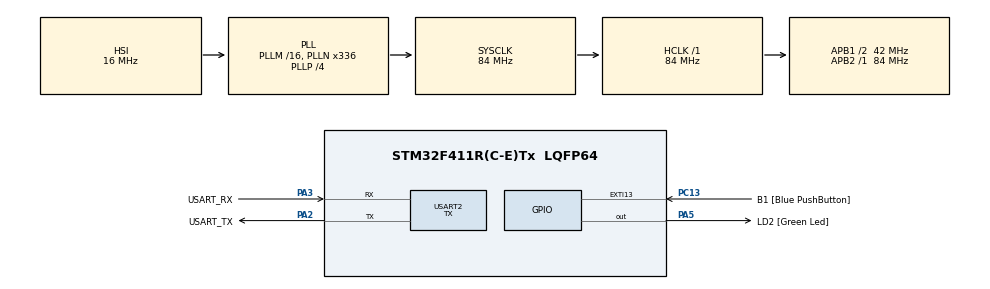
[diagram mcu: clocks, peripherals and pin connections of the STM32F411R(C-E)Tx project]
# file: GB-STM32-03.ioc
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Mcu.Family=STM32F4
Mcu.Name=STM32F411R(C-E)Tx
Mcu.Package=LQFP64
NVIC.PriorityGroup=NVIC_PRIORITYGROUP_0
NVIC.TIM2_IRQn=true\:0\:0\:false\:false\:true\:true\:true
NVIC.USART2_IRQn=true\:0\:0\:false\:false\:true\:true\:true
PA13.GPIO_Label=TMS
PA13.Mode=Serial_Wire
PA13.Signal=SYS_JTMS-SWDIO
PA14.GPIO_Label=TCK
PA14.Mode=Serial_Wire
PA14.Signal=SYS_JTCK-SWCLK
PA2.GPIO_Label=USART_TX
PA2.Mode=Asynchronous
PA2.Signal=USART2_TX
PA3.GPIO_Label=USART_RX
PA3.Mode=Asynchronous
PA3.Signal=USART2_RX
PA5.GPIO_Label=LD2 [Green Led]
PA5.Signal=GPIO_Output
PB3.GPIO_Label=SWO
PB3.Signal=SYS_JTDO-SWO
PC13-ANTI_TAMP.GPIO_Label=B1 [Blue PushButton]
PC13-ANTI_TAMP.GPIO_ModeDefaultEXTI=GPIO_MODE_IT_FALLING
PC13-ANTI_TAMP.GPIO_PuPd=GPIO_PULLUP
PC13-ANTI_TAMP.Signal=GPXTI13
PC14-OSC32_IN.Mode=LSE-External-Oscillator
PC14-OSC32_IN.Signal=RCC_OSC32_IN
PC15-OSC32_OUT.Mode=LSE-External-Oscillator
PC15-OSC32_OUT.Signal=RCC_OSC32_OUT
PH0\ -\ OSC_IN.Mode=HSE-External-Clock-Source
PH0\ -\ OSC_IN.Signal=RCC_OSC_IN
PH1\ -\ OSC_OUT.Mode=HSE-External-Clock-Source
PH1\ -\ OSC_OUT.Signal=RCC_OSC_OUT
ProjectManager.HeapSize=0x200
ProjectManager.StackSize=0x400
ProjectManager.TargetToolchain=STM32CubeIDE
RCC.48MHZClocksFreq_Value=84000000
RCC.AHBFreq_Value=84000000
RCC.APB1CLKDivider=RCC_HCLK_DIV2
RCC.APB1Freq_Value=42000000
RCC.APB1TimFreq_Value=84000000
RCC.APB2Freq_Value=84000000
RCC.APB2TimFreq_Value=84000000
RCC.CortexFreq_Value=84000000
RCC.FLatency-AdvancedSettings=FLASH_LATENCY_2
RCC.HCLKFreq_Value=84000000
RCC.HSE_VALUE=8000000
RCC.HSI_VALUE=16000000
RCC.PLLN=336
RCC.PLLP=RCC_PLLP_DIV4
RCC.SYSCLKFreq_VALUE=84000000
RCC.SYSCLKSource=RCC_SYSCLKSOURCE_PLLCLK
RCC.VCOOutputFreq_Value=336000000
TIM2.Period=10000-1
TIM2.Prescaler=84-1
USART2.Mode=MODE_TX
USART2.VirtualMode=VM_ASYNC
VP_TIM2_VS_ClockSourceINT.Mode=Internal
board=NUCLEO-F411RE

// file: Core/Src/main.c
/* USER CODE BEGIN Header */
/**
 ******************************************************************************
 * @file           : main.c
 * @brief          : Main program body
 ******************************************************************************
 * @attention
 *
 * <h2><center>&copy; Copyright (c) 2021 STMicroelectronics.
 * All rights reserved.</center></h2>
 *
 * This software component is licensed by ST under BSD 3-Clause license,
 * the "License"; You may not use this file except in compliance with the
 * License. You may obtain a copy of the License at:
 *                        opensource.org/licenses/BSD-3-Clause
 *
 ******************************************************************************
 */
/* USER CODE END Header */
#include "main.h"

/* USER CODE BEGIN Includes */
#include "stdio.h"
#include "string.h"
/* USER CODE END Includes */

/* USER CODE BEGIN PD */
#define FLASH_USER_SECTOR     FLASH_SECTOR_4
#define FLASH_USER_START_ADDR 0x08010000
#define FLASH_USER_END_ADDR   0x0801FFFF
/* USER CODE END PD */

TIM_HandleTypeDef htim2;

UART_HandleTypeDef huart2;

/* USER CODE BEGIN PV */
volatile uint32_t counter = 0;
uint32_t currentCounter = 0;
/* USER CODE END PV */

void SystemClock_Config(void);
static void MX_GPIO_Init(void);
static void MX_USART2_UART_Init(void);
static void MX_TIM2_Init(void);

/* USER CODE BEGIN 0 */
void HAL_TIM_PeriodElapsedCallback(TIM_HandleTypeDef *htim) {
	if (htim->Instance == TIM2) {
		counter++;
	}
}
/* USER CODE END 0 */

int main(void)
{
  /* USER CODE BEGIN 1 */
	uint8_t flag_key_press = 1;
	uint32_t time_key_press = 0;
	char buf[32] = { 0 };
	__IO uint32_t data = 0;

	static FLASH_EraseInitTypeDef pEraseInit;
	pEraseInit.TypeErase = FLASH_TYPEERASE_SECTORS;
	pEraseInit.Sector = FLASH_USER_SECTOR;
	pEraseInit.NbSectors = 1;
	pEraseInit.VoltageRange = VOLTAGE_RANGE_3;
	uint32_t SectorError = 0;
  /* USER CODE END 1 */

  /* MCU Configuration--------------------------------------------------------*/

  /* Reset of all peripherals, Initializes the Flash interface and the Systick. */
  HAL_Init();

  /* Configure the system clock */
  SystemClock_Config();

  /* Initialize all configured peripherals */
  MX_GPIO_Init();
  MX_USART2_UART_Init();
  MX_TIM2_Init();
  /* USER CODE BEGIN 2 */
	HAL_TIM_Base_Start_IT(&htim2);
  /* USER CODE END 2 */

  /* Infinite loop */
	while (1) {

    /* USER CODE BEGIN 3 */

		currentCounter = counter;

		if (HAL_GPIO_ReadPin(B1_GPIO_Port, B1_Pin) == GPIO_PIN_RESET && flag_key_press) {
			HAL_GPIO_WritePin(LD2_GPIO_Port, LD2_Pin, GPIO_PIN_SET);
			flag_key_press = 0;

			sprintf(buf, "Begin flash erase sector %u at 0x%0X\r\n", FLASH_USER_SECTOR, FLASH_USER_START_ADDR);
			while (HAL_UART_GetState(&huart2) != HAL_UART_STATE_READY);
			HAL_UART_Transmit(&huart2, (uint8_t*) buf, strlen(buf), 100);

			HAL_FLASH_Unlock();

			__HAL_FLASH_CLEAR_FLAG(FLASH_FLAG_EOP | FLASH_FLAG_OPERR | FLASH_FLAG_WRPERR |
					               FLASH_FLAG_PGAERR | FLASH_FLAG_PGPERR | FLASH_FLAG_PGSERR);

			if (HAL_FLASHEx_Erase(&pEraseInit, &SectorError) != HAL_OK) {
				while (HAL_UART_GetState(&huart2) != HAL_UART_STATE_READY);
				HAL_UART_Transmit(&huart2, (uint8_t*) "Flash erase failed.\r\n", 21, 100);
				Error_Handler();
			} else {
				while (HAL_UART_GetState(&huart2) != HAL_UART_STATE_READY);
				HAL_UART_Transmit(&huart2, (uint8_t*) "Flash erase OK.\r\n", 17, 100);
			}

			sprintf(buf, "Counter = %lu (hex: %X)\r\n", currentCounter, currentCounter);
			while (HAL_UART_GetState(&huart2) != HAL_UART_STATE_READY);
			HAL_UART_Transmit(&huart2, (uint8_t*) buf, strlen(buf), 100);

			if (HAL_FLASH_Program(FLASH_TYPEPROGRAM_WORD, FLASH_USER_START_ADDR, currentCounter) != HAL_OK) {
				while (HAL_UART_GetState(&huart2) != HAL_UART_STATE_READY);
				HAL_UART_Transmit(&huart2, (uint8_t*) "Flash program failed.\r\n", 23, 100);
				Error_Handler();
			} else {
				while (HAL_UART_GetState(&huart2) != HAL_UART_STATE_READY);
				HAL_UART_Transmit(&huart2, (uint8_t*) "Flash program OK.\r\n", 19, 100);
			}

			HAL_FLASH_Lock();

			time_key_press = HAL_GetTick();
			HAL_GPIO_WritePin(LD2_GPIO_Port, LD2_Pin, GPIO_PIN_RESET);

			data = *(__IO uint32_t*)FLASH_USER_START_ADDR;
			sprintf(buf, "Counter in flash = %lu (hex: %X)\r\n", data, data);
			while (HAL_UART_GetState(&huart2) != HAL_UART_STATE_READY);
			HAL_UART_Transmit(&huart2, (uint8_t*) buf, strlen(buf), 100);
		}

		if (!flag_key_press && (HAL_GetTick() - time_key_press) > 300) {
			flag_key_press = 1;
		}

		HAL_Delay(1);
	}
  /* USER CODE END 3 */
}

void SystemClock_Config(void)
{
  RCC_OscInitTypeDef RCC_OscInitStruct = {0};
  RCC_ClkInitTypeDef RCC_ClkInitStruct = {0};

  /** Configure the main internal regulator output voltage
  */
  __HAL_RCC_PWR_CLK_ENABLE();
  __HAL_PWR_VOLTAGESCALING_CONFIG(PWR_REGULATOR_VOLTAGE_SCALE1);
  /** Initializes the RCC Oscillators according to the specified parameters
  * in the RCC_OscInitTypeDef structure.
  */
  RCC_OscInitStruct.OscillatorType = RCC_OSCILLATORTYPE_HSI;
  RCC_OscInitStruct.HSIState = RCC_HSI_ON;
  RCC_OscInitStruct.HSICalibrationValue = RCC_HSICALIBRATION_DEFAULT;
  RCC_OscInitStruct.PLL.PLLState = RCC_PLL_ON;
  RCC_OscInitStruct.PLL.PLLSource = RCC_PLLSOURCE_HSI;
  RCC_OscInitStruct.PLL.PLLM = 16;
  RCC_OscInitStruct.PLL.PLLN = 336;
  RCC_OscInitStruct.PLL.PLLP = RCC_PLLP_DIV4;
  RCC_OscInitStruct.PLL.PLLQ = 4;
  if (HAL_RCC_OscConfig(&RCC_OscInitStruct) != HAL_OK)
  {
    Error_Handler();
  }
  /** Initializes the CPU, AHB and APB buses clocks
  */
  RCC_ClkInitStruct.ClockType = RCC_CLOCKTYPE_HCLK|RCC_CLOCKTYPE_SYSCLK
                              |RCC_CLOCKTYPE_PCLK1|RCC_CLOCKTYPE_PCLK2;
  RCC_ClkInitStruct.SYSCLKSource = RCC_SYSCLKSOURCE_PLLCLK;
  RCC_ClkInitStruct.AHBCLKDivider = RCC_SYSCLK_DIV1;
  RCC_ClkInitStruct.APB1CLKDivider = RCC_HCLK_DIV2;
  RCC_ClkInitStruct.APB2CLKDivider = RCC_HCLK_DIV1;

  if (HAL_RCC_ClockConfig(&RCC_ClkInitStruct, FLASH_LATENCY_2) != HAL_OK)
  {
    Error_Handler();
  }
}

static void MX_TIM2_Init(void)
{

  TIM_ClockConfigTypeDef sClockSourceConfig = {0};
  TIM_MasterConfigTypeDef sMasterConfig = {0};

  htim2.Instance = TIM2;
  htim2.Init.Prescaler = 84-1;
  htim2.Init.CounterMode = TIM_COUNTERMODE_UP;
  htim2.Init.Period = 10000-1;
  htim2.Init.ClockDivision = TIM_CLOCKDIVISION_DIV1;
  htim2.Init.AutoReloadPreload = TIM_AUTORELOAD_PRELOAD_DISABLE;
  if (HAL_TIM_Base_Init(&htim2) != HAL_OK)
  {
    Error_Handler();
  }
  sClockSourceConfig.ClockSource = TIM_CLOCKSOURCE_INTERNAL;
  if (HAL_TIM_ConfigClockSource(&htim2, &sClockSourceConfig) != HAL_OK)
  {
    Error_Handler();
  }
  sMasterConfig.MasterOutputTrigger = TIM_TRGO_RESET;
  sMasterConfig.MasterSlaveMode = TIM_MASTERSLAVEMODE_DISABLE;
  if (HAL_TIMEx_MasterConfigSynchronization(&htim2, &sMasterConfig) != HAL_OK)
  {
    Error_Handler();
  }

}

static void MX_USART2_UART_Init(void)
{

  huart2.Instance = USART2;
  huart2.Init.BaudRate = 115200;
  huart2.Init.WordLength = UART_WORDLENGTH_8B;
  huart2.Init.StopBits = UART_STOPBITS_1;
  huart2.Init.Parity = UART_PARITY_NONE;
  huart2.Init.Mode = UART_MODE_TX;
  huart2.Init.HwFlowCtl = UART_HWCONTROL_NONE;
  huart2.Init.OverSampling = UART_OVERSAMPLING_16;
  if (HAL_UART_Init(&huart2) != HAL_OK)
  {
    Error_Handler();
  }

}

static void MX_GPIO_Init(void)
{
  GPIO_InitTypeDef GPIO_InitStruct = {0};

  /* GPIO Ports Clock Enable */
  __HAL_RCC_GPIOC_CLK_ENABLE();
  __HAL_RCC_GPIOH_CLK_ENABLE();
  __HAL_RCC_GPIOA_CLK_ENABLE();
  __HAL_RCC_GPIOB_CLK_ENABLE();

  /*Configure GPIO pin Output Level */
  HAL_GPIO_WritePin(LD2_GPIO_Port, LD2_Pin, GPIO_PIN_RESET);

  /*Configure GPIO pin : B1_Pin */
  GPIO_InitStruct.Pin = B1_Pin;
  GPIO_InitStruct.Mode = GPIO_MODE_IT_FALLING;
  GPIO_InitStruct.Pull = GPIO_PULLUP;
  HAL_GPIO_Init(B1_GPIO_Port, &GPIO_InitStruct);

  /*Configure GPIO pin : LD2_Pin */
  GPIO_InitStruct.Pin = LD2_Pin;
  GPIO_InitStruct.Mode = GPIO_MODE_OUTPUT_PP;
  GPIO_InitStruct.Pull = GPIO_NOPULL;
  GPIO_InitStruct.Speed = GPIO_SPEED_FREQ_LOW;
  HAL_GPIO_Init(LD2_GPIO_Port, &GPIO_InitStruct);

}

void Error_Handler(void)
{
	__disable_irq();
	while (1) {
	}
}

/************************ (C) COPYRIGHT STMicroelectronics *****END OF FILE****/
